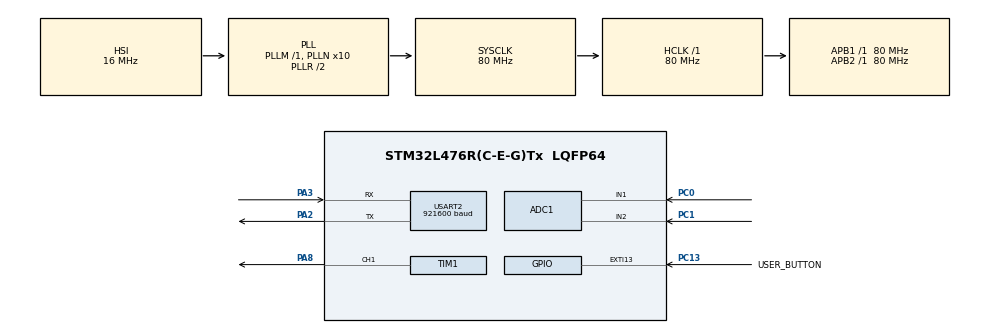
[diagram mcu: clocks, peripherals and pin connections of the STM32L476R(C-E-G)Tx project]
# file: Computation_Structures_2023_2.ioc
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ADC1.Channel-0\#ChannelRegularConversion=ADC_CHANNEL_1
ADC1.Channel-1\#ChannelRegularConversion=ADC_CHANNEL_2
ADC1.ClockPrescaler=ADC_CLOCK_ASYNC_DIV1
ADC1.ContinuousConvMode=ENABLE
ADC1.DMAContinuousRequests=DISABLE
ADC1.EOCSelection=ADC_EOC_SEQ_CONV
ADC1.NbrOfConversion=2
ADC1.NbrOfConversionFlag=1
ADC1.OffsetNumber-0\#ChannelRegularConversion=ADC_OFFSET_NONE
ADC1.OffsetNumber-1\#ChannelRegularConversion=ADC_OFFSET_NONE
ADC1.Rank-0\#ChannelRegularConversion=1
ADC1.Rank-1\#ChannelRegularConversion=2
ADC1.SamplingTime-0\#ChannelRegularConversion=ADC_SAMPLETIME_2CYCLES_5
ADC1.SamplingTime-1\#ChannelRegularConversion=ADC_SAMPLETIME_2CYCLES_5
ADC1.master=1
Dma.ADC1.1.Direction=DMA_PERIPH_TO_MEMORY
Dma.ADC1.1.Instance=DMA1_Channel1
Dma.ADC1.1.MemDataAlignment=DMA_MDATAALIGN_HALFWORD
Dma.ADC1.1.MemInc=DMA_MINC_ENABLE
Dma.ADC1.1.Mode=DMA_CIRCULAR
Dma.ADC1.1.PeriphDataAlignment=DMA_PDATAALIGN_HALFWORD
Dma.ADC1.1.PeriphInc=DMA_PINC_DISABLE
Dma.ADC1.1.Priority=DMA_PRIORITY_MEDIUM
Dma.Request0=USART2_TX
Dma.Request1=ADC1
Dma.USART2_TX.0.Direction=DMA_MEMORY_TO_PERIPH
Dma.USART2_TX.0.Instance=DMA1_Channel7
Dma.USART2_TX.0.MemDataAlignment=DMA_MDATAALIGN_BYTE
Dma.USART2_TX.0.MemInc=DMA_MINC_ENABLE
Dma.USART2_TX.0.Mode=DMA_NORMAL
Dma.USART2_TX.0.PeriphDataAlignment=DMA_PDATAALIGN_BYTE
Dma.USART2_TX.0.PeriphInc=DMA_PINC_DISABLE
Dma.USART2_TX.0.Priority=DMA_PRIORITY_HIGH
Mcu.Family=STM32L4
Mcu.Name=STM32L476R(C-E-G)Tx
Mcu.Package=LQFP64
NVIC.ADC1_2_IRQn=true\:0\:0\:false\:false\:true\:true\:true\:true
NVIC.DMA1_Channel1_IRQn=true\:0\:0\:false\:false\:true\:false\:true\:true
NVIC.DMA1_Channel7_IRQn=true\:0\:0\:false\:false\:true\:false\:true\:true
NVIC.EXTI15_10_IRQn=true\:0\:0\:false\:false\:true\:true\:true\:true
NVIC.PriorityGroup=NVIC_PRIORITYGROUP_4
NVIC.RTC_Alarm_IRQn=true\:0\:0\:false\:false\:true\:true\:true\:true
NVIC.TIM7_IRQn=true\:0\:0\:false\:false\:true\:true\:true\:true
NVIC.USART2_IRQn=true\:0\:0\:false\:false\:true\:true\:true\:true
PA2.Mode=Asynchronous
PA2.Signal=USART2_TX
PA3.Mode=Asynchronous
PA3.Signal=USART2_RX
PA8.Signal=S_TIM1_CH1
PC0.Signal=ADCx_IN1
PC1.Signal=ADCx_IN2
PC13.GPIO_Label=USER_BUTTON
PC13.Signal=GPXTI13
ProjectManager.HeapSize=0x200
ProjectManager.StackSize=0x400
ProjectManager.TargetToolchain=STM32CubeIDE
RCC.ADCFreq_Value=64000000
RCC.AHBFreq_Value=80000000
RCC.APB1Freq_Value=80000000
RCC.APB1TimFreq_Value=80000000
RCC.APB2Freq_Value=80000000
RCC.APB2TimFreq_Value=80000000
RCC.CortexFreq_Value=80000000
RCC.HCLKFreq_Value=80000000
RCC.HSE_VALUE=8000000
RCC.HSI_VALUE=16000000
RCC.LSE_VALUE=32768
RCC.MSI_VALUE=4000000
RCC.PLLN=10
RCC.PLLSourceVirtual=RCC_PLLSOURCE_HSI
RCC.PREFETCH_ENABLE=1
RCC.SYSCLKFreq_VALUE=80000000
RCC.SYSCLKSource=RCC_SYSCLKSOURCE_PLLCLK
RCC.USBFreq_Value=64000000
RCC.VCOOutputFreq_Value=160000000
RTC.Alarm-Alarm\ A=RTC_ALARM_A
SH.ADCx_IN1.0=ADC1_IN1,IN1-Single-Ended
SH.ADCx_IN2.0=ADC1_IN2,IN2-Single-Ended
SH.S_TIM1_CH1.0=TIM1_CH1,PWM Generation1 CH1
TIM1.Channel-PWM\ Generation1\ CH1=TIM_CHANNEL_1
TIM1.Period=100-1
TIM1.Prescaler=800-1
TIM7.Period=10000-1
TIM7.Prescaler=8000-1
USART2.BaudRate=921600
USART2.VirtualMode-Asynchronous=VM_ASYNC
VP_RTC_VS_RTC_Activate.Mode=RTC_Enabled
VP_RTC_VS_RTC_Alarm_A_Intern.Mode=Alarm A
VP_RTC_VS_RTC_Calendar.Mode=RTC_Calendar
VP_TIM1_VS_ClockSourceINT.Mode=Internal
VP_TIM7_VS_ClockSourceINT.Mode=Enable_Timer
board=NUCLEO-L476RG

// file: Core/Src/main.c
/* USER CODE BEGIN Header */
/**
  ******************************************************************************
  * @file           : main.c
  * @brief          : Main program body
  ******************************************************************************
  * @attention
  *
  * Copyright (c) 2023 STMicroelectronics.
  * All rights reserved.
  *
  * This software is licensed under terms that can be found in the LICENSE file
  * in the root directory of this software component.
  * If no LICENSE file comes with this software, it is provided AS-IS.
  *
  ******************************************************************************
  */
/* USER CODE END Header */
#include "main.h"

/* USER CODE BEGIN Includes */
#include <stdio.h>
/* USER CODE END Includes */

ADC_HandleTypeDef hadc1;
DMA_HandleTypeDef hdma_adc1;

RTC_HandleTypeDef hrtc;

TIM_HandleTypeDef htim1;
TIM_HandleTypeDef htim7;

UART_HandleTypeDef huart2;
DMA_HandleTypeDef hdma_usart2_tx;

/* USER CODE BEGIN PV */
uint8_t rx_buffer[4];

uint8_t tx_busy = 0;

uint16_t adc_buffer[10];
/* USER CODE END PV */

void SystemClock_Config(void);
static void MX_GPIO_Init(void);
static void MX_DMA_Init(void);
static void MX_USART2_UART_Init(void);
static void MX_TIM7_Init(void);
static void MX_TIM1_Init(void);
static void MX_ADC1_Init(void);
static void MX_RTC_Init(void);

/* USER CODE BEGIN 0 */
int _write(int file, char *ptr, int len)
{
	while (tx_busy != 0) {/* Wait */}
  HAL_UART_Transmit_DMA(&huart2, (uint8_t *)ptr, len);
  tx_busy = 1;
  return len;
}

void HAL_UART_RxCpltCallback(UART_HandleTypeDef *huart)
{
	printf("Received: [%s]\r\n", rx_buffer);
	HAL_UART_Receive_IT(&huart2, rx_buffer, 1);
}

void HAL_UART_TxCpltCallback(UART_HandleTypeDef *huart)
{
	tx_busy = 0;
}

void HAL_TIM_PeriodElapsedCallback(TIM_HandleTypeDef *htim)
{
	static uint32_t counter = 0;

	printf("Counter: %ld\r\n", counter++);
}

static void rtc_alarm_config(void)
{
	RTC_DateTypeDef date;
	RTC_TimeTypeDef time;
	RTC_AlarmTypeDef alarm;

	date.Year = 0x23;
	date.Month = RTC_MONTH_OCTOBER;
	date.Date = 0x06;
	date.WeekDay = RTC_WEEKDAY_FRIDAY;
	HAL_RTC_SetDate(&hrtc, &date, RTC_FORMAT_BCD);

	time.Hours = 0x19;
	time.Minutes = 0x10;
	time.Seconds = 0x00;
	time.TimeFormat = RTC_HOURFORMAT_24;
	HAL_RTC_SetTime(&hrtc, &time, RTC_FORMAT_BCD);

	alarm.Alarm = RTC_ALARM_A;
	alarm.AlarmTime.Hours = 0x19;
	alarm.AlarmTime.Minutes = 0x10;
	alarm.AlarmTime.Seconds = 0x10;

	alarm.AlarmTime.TimeFormat = RTC_HOURFORMAT_24;
	alarm.AlarmDateWeekDay = RTC_WEEKDAY_FRIDAY;
	alarm.AlarmDateWeekDaySel = RTC_ALARMDATEWEEKDAYSEL_WEEKDAY;
	alarm.AlarmMask = RTC_ALARMMASK_DATEWEEKDAY;
	HAL_RTC_SetAlarm_IT(&hrtc, &alarm, RTC_FORMAT_BCD);

}

void HAL_RTC_AlarmAEventCallback(RTC_HandleTypeDef *hrtc)
{
  /* Turn LD2 on: Alarm generation */
  printf("Alarm!!!\r\n");
}
/* USER CODE END 0 */

int main(void)
{

  /* MCU Configuration--------------------------------------------------------*/

  /* Reset of all peripherals, Initializes the Flash interface and the Systick. */
  HAL_Init();

  /* Configure the system clock */
  SystemClock_Config();

  /* Initialize all configured peripherals */
  MX_GPIO_Init();
  MX_DMA_Init();
  MX_USART2_UART_Init();
  MX_TIM7_Init();
  MX_TIM1_Init();
  MX_ADC1_Init();
  MX_RTC_Init();
  /* USER CODE BEGIN 2 */
  HAL_UART_Receive_IT(&huart2, rx_buffer, 1);

  HAL_TIM_Base_Start_IT(&htim7);

  TIM1->CCR1 = 50; // To set the compare channel 1
  HAL_TIM_PWM_Start(&htim1, TIM_CHANNEL_1);
  /* USER CODE END 2 */

  /* Infinite loop */
  /* USER CODE BEGIN WHILE */
  rtc_alarm_config();
  while (1)
  {
	  HAL_ADC_Start_DMA(&hadc1, (uint32_t *)adc_buffer, 10);
	  HAL_Delay(1000);
	  uint32_t adc_channel_1 = adc_buffer[0] + adc_buffer[2] +
			  adc_buffer[4] + adc_buffer[6] + adc_buffer[8];
	  adc_channel_1 = adc_channel_1 / 5;
	  uint32_t adc_channel_2 = adc_buffer[1] + adc_buffer[3] +
	  			  adc_buffer[5] + adc_buffer[7] + adc_buffer[9];
	  	  adc_channel_2 = adc_channel_2 / 5;
	  printf("Average: %ld, %ld\r\n", adc_channel_1, adc_channel_2);

    /* USER CODE END WHILE */

  }
}

void SystemClock_Config(void)
{
  RCC_OscInitTypeDef RCC_OscInitStruct = {0};
  RCC_ClkInitTypeDef RCC_ClkInitStruct = {0};

  /** Configure the main internal regulator output voltage
  */
  if (HAL_PWREx_ControlVoltageScaling(PWR_REGULATOR_VOLTAGE_SCALE1) != HAL_OK)
  {
    Error_Handler();
  }

  /** Initializes the RCC Oscillators according to the specified parameters
  * in the RCC_OscInitTypeDef structure.
  */
  RCC_OscInitStruct.OscillatorType = RCC_OSCILLATORTYPE_HSI|RCC_OSCILLATORTYPE_LSI;
  RCC_OscInitStruct.HSIState = RCC_HSI_ON;
  RCC_OscInitStruct.HSICalibrationValue = RCC_HSICALIBRATION_DEFAULT;
  RCC_OscInitStruct.LSIState = RCC_LSI_ON;
  RCC_OscInitStruct.PLL.PLLState = RCC_PLL_ON;
  RCC_OscInitStruct.PLL.PLLSource = RCC_PLLSOURCE_HSI;
  RCC_OscInitStruct.PLL.PLLM = 1;
  RCC_OscInitStruct.PLL.PLLN = 10;
  RCC_OscInitStruct.PLL.PLLP = RCC_PLLP_DIV7;
  RCC_OscInitStruct.PLL.PLLQ = RCC_PLLQ_DIV2;
  RCC_OscInitStruct.PLL.PLLR = RCC_PLLR_DIV2;
  if (HAL_RCC_OscConfig(&RCC_OscInitStruct) != HAL_OK)
  {
    Error_Handler();
  }

  /** Initializes the CPU, AHB and APB buses clocks
  */
  RCC_ClkInitStruct.ClockType = RCC_CLOCKTYPE_HCLK|RCC_CLOCKTYPE_SYSCLK
                              |RCC_CLOCKTYPE_PCLK1|RCC_CLOCKTYPE_PCLK2;
  RCC_ClkInitStruct.SYSCLKSource = RCC_SYSCLKSOURCE_PLLCLK;
  RCC_ClkInitStruct.AHBCLKDivider = RCC_SYSCLK_DIV1;
  RCC_ClkInitStruct.APB1CLKDivider = RCC_HCLK_DIV1;
  RCC_ClkInitStruct.APB2CLKDivider = RCC_HCLK_DIV1;

  if (HAL_RCC_ClockConfig(&RCC_ClkInitStruct, FLASH_LATENCY_4) != HAL_OK)
  {
    Error_Handler();
  }
}

static void MX_ADC1_Init(void)
{

  ADC_MultiModeTypeDef multimode = {0};
  ADC_ChannelConfTypeDef sConfig = {0};

  /** Common config
  */
  hadc1.Instance = ADC1;
  hadc1.Init.ClockPrescaler = ADC_CLOCK_ASYNC_DIV1;
  hadc1.Init.Resolution = ADC_RESOLUTION_12B;
  hadc1.Init.DataAlign = ADC_DATAALIGN_RIGHT;
  hadc1.Init.ScanConvMode = ADC_SCAN_ENABLE;
  hadc1.Init.EOCSelection = ADC_EOC_SEQ_CONV;
  hadc1.Init.LowPowerAutoWait = DISABLE;
  hadc1.Init.ContinuousConvMode = ENABLE;
  hadc1.Init.NbrOfConversion = 2;
  hadc1.Init.DiscontinuousConvMode = DISABLE;
  hadc1.Init.ExternalTrigConv = ADC_SOFTWARE_START;
  hadc1.Init.ExternalTrigConvEdge = ADC_EXTERNALTRIGCONVEDGE_NONE;
  hadc1.Init.DMAContinuousRequests = DISABLE;
  hadc1.Init.Overrun = ADC_OVR_DATA_PRESERVED;
  hadc1.Init.OversamplingMode = DISABLE;
  if (HAL_ADC_Init(&hadc1) != HAL_OK)
  {
    Error_Handler();
  }

  /** Configure the ADC multi-mode
  */
  multimode.Mode = ADC_MODE_INDEPENDENT;
  if (HAL_ADCEx_MultiModeConfigChannel(&hadc1, &multimode) != HAL_OK)
  {
    Error_Handler();
  }

  /** Configure Regular Channel
  */
  sConfig.Channel = ADC_CHANNEL_1;
  sConfig.Rank = ADC_REGULAR_RANK_1;
  sConfig.SamplingTime = ADC_SAMPLETIME_2CYCLES_5;
  sConfig.SingleDiff = ADC_SINGLE_ENDED;
  sConfig.OffsetNumber = ADC_OFFSET_NONE;
  sConfig.Offset = 0;
  if (HAL_ADC_ConfigChannel(&hadc1, &sConfig) != HAL_OK)
  {
    Error_Handler();
  }

  /** Configure Regular Channel
  */
  sConfig.Channel = ADC_CHANNEL_2;
  sConfig.Rank = ADC_REGULAR_RANK_2;
  if (HAL_ADC_ConfigChannel(&hadc1, &sConfig) != HAL_OK)
  {
    Error_Handler();
  }

}

static void MX_RTC_Init(void)
{

  RTC_TimeTypeDef sTime = {0};
  RTC_DateTypeDef sDate = {0};
  RTC_AlarmTypeDef sAlarm = {0};

  /** Initialize RTC Only
  */
  hrtc.Instance = RTC;
  hrtc.Init.HourFormat = RTC_HOURFORMAT_24;
  hrtc.Init.AsynchPrediv = 127;
  hrtc.Init.SynchPrediv = 255;
  hrtc.Init.OutPut = RTC_OUTPUT_DISABLE;
  hrtc.Init.OutPutRemap = RTC_OUTPUT_REMAP_NONE;
  hrtc.Init.OutPutPolarity = RTC_OUTPUT_POLARITY_HIGH;
  hrtc.Init.OutPutType = RTC_OUTPUT_TYPE_OPENDRAIN;
  if (HAL_RTC_Init(&hrtc) != HAL_OK)
  {
    Error_Handler();
  }

  /** Initialize RTC and set the Time and Date
  */
  sTime.Hours = 0x0;
  sTime.Minutes = 0x0;
  sTime.Seconds = 0x0;
  sTime.DayLightSaving = RTC_DAYLIGHTSAVING_NONE;
  sTime.StoreOperation = RTC_STOREOPERATION_RESET;
  if (HAL_RTC_SetTime(&hrtc, &sTime, RTC_FORMAT_BCD) != HAL_OK)
  {
    Error_Handler();
  }
  sDate.WeekDay = RTC_WEEKDAY_MONDAY;
  sDate.Month = RTC_MONTH_JANUARY;
  sDate.Date = 0x1;
  sDate.Year = 0x0;

  if (HAL_RTC_SetDate(&hrtc, &sDate, RTC_FORMAT_BCD) != HAL_OK)
  {
    Error_Handler();
  }

  /** Enable the Alarm A
  */
  sAlarm.AlarmTime.Hours = 0x0;
  sAlarm.AlarmTime.Minutes = 0x0;
  sAlarm.AlarmTime.Seconds = 0x0;
  sAlarm.AlarmTime.SubSeconds = 0x0;
  sAlarm.AlarmTime.DayLightSaving = RTC_DAYLIGHTSAVING_NONE;
  sAlarm.AlarmTime.StoreOperation = RTC_STOREOPERATION_RESET;
  sAlarm.AlarmMask = RTC_ALARMMASK_NONE;
  sAlarm.AlarmSubSecondMask = RTC_ALARMSUBSECONDMASK_ALL;
  sAlarm.AlarmDateWeekDaySel = RTC_ALARMDATEWEEKDAYSEL_DATE;
  sAlarm.AlarmDateWeekDay = 0x1;
  sAlarm.Alarm = RTC_ALARM_A;
  if (HAL_RTC_SetAlarm_IT(&hrtc, &sAlarm, RTC_FORMAT_BCD) != HAL_OK)
  {
    Error_Handler();
  }

}

static void MX_TIM1_Init(void)
{

  TIM_ClockConfigTypeDef sClockSourceConfig = {0};
  TIM_MasterConfigTypeDef sMasterConfig = {0};
  TIM_OC_InitTypeDef sConfigOC = {0};
  TIM_BreakDeadTimeConfigTypeDef sBreakDeadTimeConfig = {0};

  htim1.Instance = TIM1;
  htim1.Init.Prescaler = 800-1;
  htim1.Init.CounterMode = TIM_COUNTERMODE_UP;
  htim1.Init.Period = 100-1;
  htim1.Init.ClockDivision = TIM_CLOCKDIVISION_DIV1;
  htim1.Init.RepetitionCounter = 0;
  htim1.Init.AutoReloadPreload = TIM_AUTORELOAD_PRELOAD_DISABLE;
  if (HAL_TIM_Base_Init(&htim1) != HAL_OK)
  {
    Error_Handler();
  }
  sClockSourceConfig.ClockSource = TIM_CLOCKSOURCE_INTERNAL;
  if (HAL_TIM_ConfigClockSource(&htim1, &sClockSourceConfig) != HAL_OK)
  {
    Error_Handler();
  }
  if (HAL_TIM_PWM_Init(&htim1) != HAL_OK)
  {
    Error_Handler();
  }
  sMasterConfig.MasterOutputTrigger = TIM_TRGO_RESET;
  sMasterConfig.MasterOutputTrigger2 = TIM_TRGO2_RESET;
  sMasterConfig.MasterSlaveMode = TIM_MASTERSLAVEMODE_DISABLE;
  if (HAL_TIMEx_MasterConfigSynchronization(&htim1, &sMasterConfig) != HAL_OK)
  {
    Error_Handler();
  }
  sConfigOC.OCMode = TIM_OCMODE_PWM1;
  sConfigOC.Pulse = 0;
  sConfigOC.OCPolarity = TIM_OCPOLARITY_HIGH;
  sConfigOC.OCNPolarity = TIM_OCNPOLARITY_HIGH;
  sConfigOC.OCFastMode = TIM_OCFAST_DISABLE;
  sConfigOC.OCIdleState = TIM_OCIDLESTATE_RESET;
  sConfigOC.OCNIdleState = TIM_OCNIDLESTATE_RESET;
  if (HAL_TIM_PWM_ConfigChannel(&htim1, &sConfigOC, TIM_CHANNEL_1) != HAL_OK)
  {
    Error_Handler();
  }
  sBreakDeadTimeConfig.OffStateRunMode = TIM_OSSR_DISABLE;
  sBreakDeadTimeConfig.OffStateIDLEMode = TIM_OSSI_DISABLE;
  sBreakDeadTimeConfig.LockLevel = TIM_LOCKLEVEL_OFF;
  sBreakDeadTimeConfig.DeadTime = 0;
  sBreakDeadTimeConfig.BreakState = TIM_BREAK_DISABLE;
  sBreakDeadTimeConfig.BreakPolarity = TIM_BREAKPOLARITY_HIGH;
  sBreakDeadTimeConfig.BreakFilter = 0;
  sBreakDeadTimeConfig.Break2State = TIM_BREAK2_DISABLE;
  sBreakDeadTimeConfig.Break2Polarity = TIM_BREAK2POLARITY_HIGH;
  sBreakDeadTimeConfig.Break2Filter = 0;
  sBreakDeadTimeConfig.AutomaticOutput = TIM_AUTOMATICOUTPUT_DISABLE;
  if (HAL_TIMEx_ConfigBreakDeadTime(&htim1, &sBreakDeadTimeConfig) != HAL_OK)
  {
    Error_Handler();
  }
  HAL_TIM_MspPostInit(&htim1);

}

static void MX_TIM7_Init(void)
{

  TIM_MasterConfigTypeDef sMasterConfig = {0};

  htim7.Instance = TIM7;
  htim7.Init.Prescaler = 8000-1;
  htim7.Init.CounterMode = TIM_COUNTERMODE_UP;
  htim7.Init.Period = 10000-1;
  htim7.Init.AutoReloadPreload = TIM_AUTORELOAD_PRELOAD_DISABLE;
  if (HAL_TIM_Base_Init(&htim7) != HAL_OK)
  {
    Error_Handler();
  }
  sMasterConfig.MasterOutputTrigger = TIM_TRGO_RESET;
  sMasterConfig.MasterSlaveMode = TIM_MASTERSLAVEMODE_DISABLE;
  if (HAL_TIMEx_MasterConfigSynchronization(&htim7, &sMasterConfig) != HAL_OK)
  {
    Error_Handler();
  }

}

static void MX_USART2_UART_Init(void)
{

  huart2.Instance = USART2;
  huart2.Init.BaudRate = 921600;
  huart2.Init.WordLength = UART_WORDLENGTH_8B;
  huart2.Init.StopBits = UART_STOPBITS_1;
  huart2.Init.Parity = UART_PARITY_NONE;
  huart2.Init.Mode = UART_MODE_TX_RX;
  huart2.Init.HwFlowCtl = UART_HWCONTROL_NONE;
  huart2.Init.OverSampling = UART_OVERSAMPLING_16;
  huart2.Init.OneBitSampling = UART_ONE_BIT_SAMPLE_DISABLE;
  huart2.AdvancedInit.AdvFeatureInit = UART_ADVFEATURE_NO_INIT;
  if (HAL_UART_Init(&huart2) != HAL_OK)
  {
    Error_Handler();
  }

}

static void MX_DMA_Init(void)
{

  /* DMA controller clock enable */
  __HAL_RCC_DMA1_CLK_ENABLE();

  /* DMA interrupt init */
  /* DMA1_Channel1_IRQn interrupt configuration */
  HAL_NVIC_SetPriority(DMA1_Channel1_IRQn, 0, 0);
  HAL_NVIC_EnableIRQ(DMA1_Channel1_IRQn);
  /* DMA1_Channel7_IRQn interrupt configuration */
  HAL_NVIC_SetPriority(DMA1_Channel7_IRQn, 0, 0);
  HAL_NVIC_EnableIRQ(DMA1_Channel7_IRQn);

}

static void MX_GPIO_Init(void)
{
  GPIO_InitTypeDef GPIO_InitStruct = {0};

  /* GPIO Ports Clock Enable */
  __HAL_RCC_GPIOC_CLK_ENABLE();
  __HAL_RCC_GPIOA_CLK_ENABLE();

  /*Configure GPIO pin : USER_BUTTON_Pin */
  GPIO_InitStruct.Pin = USER_BUTTON_Pin;
  GPIO_InitStruct.Mode = GPIO_MODE_IT_RISING;
  GPIO_InitStruct.Pull = GPIO_NOPULL;
  HAL_GPIO_Init(USER_BUTTON_GPIO_Port, &GPIO_InitStruct);

  /* EXTI interrupt init*/
  HAL_NVIC_SetPriority(EXTI15_10_IRQn, 0, 0);
  HAL_NVIC_EnableIRQ(EXTI15_10_IRQn);

}

void Error_Handler(void)
{
  __disable_irq();
  while (1)
  {
  }
}
